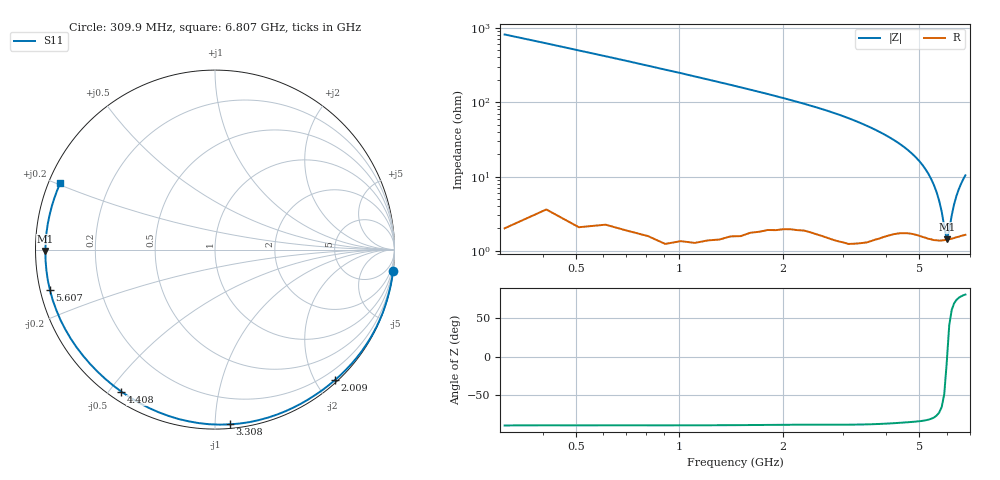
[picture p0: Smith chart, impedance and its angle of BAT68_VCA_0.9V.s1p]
! Infineon Technologies  Discrete & RF Semiconductors
! BAT68
! VCA = 0.9 V
! One-Port S-Parameters
# Hz  S  MA  R  50
!f  S11
!Hz  Mag  Ang
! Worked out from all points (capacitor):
!   66 points, 309.9 MHz to 6.807 GHz, reference 50 ohm
!   read as one part to ground: C = 623 fF near 309.9 MHz
!   lowest |Z| = 1.42 ohm at 6.007 GHz (marker M1)
!   series resonance near 6.02 GHz, so ESL is about 1.1 nH
!   S11 on the Smith chart (normalised r, x): 309.9 MHz: 0, -16; 2.009 GHz: 0.04, -2.27; 3.308 GHz: 0.03, -1.09; 4.408 GHz: 0.03, -0.54; 5.607 GHz: 0.03, -0.12; 6.807 GHz: 0.03, +0.21
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3.0985e8  0.9997 -7.0
5.0975e8  0.9992 -11.5
8.096e8  0.9984 -18.3
1.2094e9  0.9968 -27.7
1.6092e9  0.9928 -37.4
2.009e9  0.9874 -47.5
2.30885e9  0.984 -55.3
2.50875e9  0.983 -60.8
2.8086e9  0.9819 -69.5
3.10845e9  0.9803 -78.7
3.30835e9  0.9773 -85.2
3.50825e9  0.9736 -91.9
3.6082e9  0.971 -95.2
3.8081e9  0.9654 -102.2
4.008e9  0.959 -109.2
4.2079e9  0.9528 -116.2
4.4078e9  0.9479 -123.3
4.6077e9  0.9447 -130.4
4.8076e9  0.9434 -137.6
5.0075e9  0.9439 -144.8
5.2074e9  0.945 -152.0
5.4073e9  0.9461 -159.1
5.6072e9  0.9468 -166.1
5.8071e9  0.9465 -173.0
6.007e9  0.9451 -179.6
6.2069e9  0.9435 174.1
6.4068e9  0.9415 168.1
6.8066e9  0.9388 156.8
